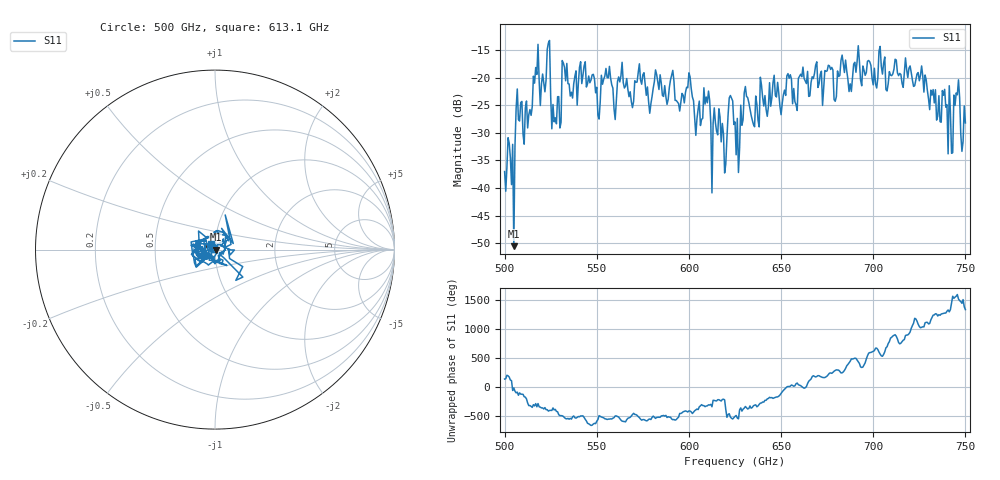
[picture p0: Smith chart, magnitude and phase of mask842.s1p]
!Created with skrf (http://scikit-rf.org).
# GHz S MA R 50.0
!freq magS11 angS11
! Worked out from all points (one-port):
!   401 points, 500 GHz to 750 GHz, reference 50 ohm
!   lowest |S11| = -50.6 dB at 505 GHz (marker M1), VSWR 1.01, Z = 50.3 - j0.0914 ohm
!   |S11| at or under -10 dB: start of sweep to end of sweep
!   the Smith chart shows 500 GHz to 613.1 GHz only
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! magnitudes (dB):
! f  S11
! 500 GHz  -37.0
! 505 GHz  -50.6
! 507.5 GHz  -27.6
! 513.8 GHz  -25.8
! 516.9 GHz  -18.1
! 520.6 GHz  -19.3
! 523.8 GHz  -13.7
! 526.9 GHz  -28.0
! 531.2 GHz  -16.9
! 542.5 GHz  -19.5
! 550.6 GHz  -26.8
! 555.6 GHz  -20.0
! 559.4 GHz  -25.7
! 562.5 GHz  -20.7
! 593.8 GHz  -24.4
! 609.4 GHz  -23.5
! 618.8 GHz  -30.2
! 622.5 GHz  -23.2
! 625 GHz  -28.0
! 656.2 GHz  -24.7
! 680 GHz  -23.4
! 683.8 GHz  -17.5
! 687.5 GHz  -21.1
! 718.8 GHz  -20.0
! 738.8 GHz  -22.1
! 741.9 GHz  -26.3
! 745 GHz  -22.8
! 750 GHz  -28.2
